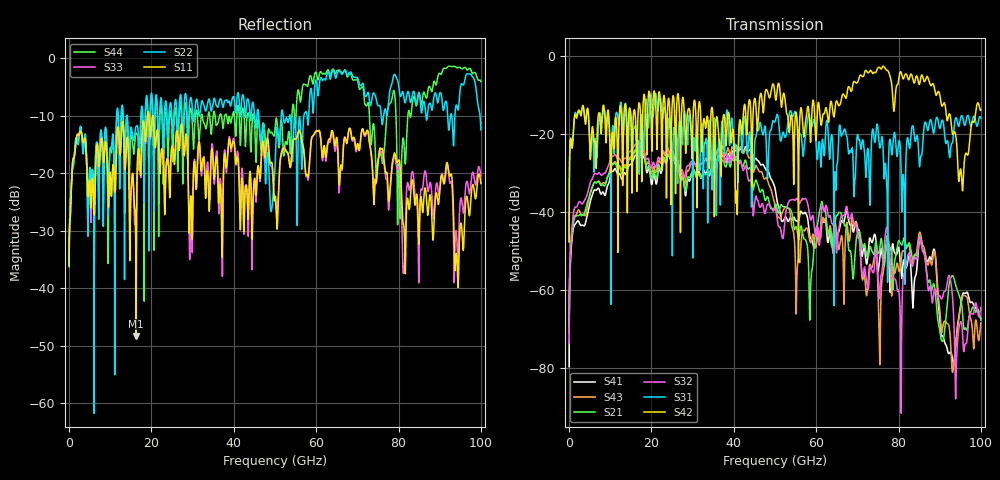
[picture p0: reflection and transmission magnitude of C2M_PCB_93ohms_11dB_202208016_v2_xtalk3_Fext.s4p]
! Info: Touchstone file created by Circ.  Input file=Intel_C2M_200G_2p0in_202208016_staggered.circ
# Hz S RI R 50
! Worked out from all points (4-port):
!   10000 points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, 10 MHz to 100 GHz, reference 50 ohm
!   strongest paths, dB at 10 MHz, 25.01 GHz, 50.01 GHz, 75.01 GHz, 100 GHz:
!     S42: -47.5, -13.1, -10.1, -3.1, -13.8
!     S31: -47.7, -30.8, -16.8, -18.7, -16.0
!     S32: -73.7, -24.3, -39.1, -56.0, -64.4
!     S21: -69.2, -26.4, -38.2, -50.4, -67.6
!     S43: -71.0, -24.3, -38.2, -59.7, -68.4
!     S41: -79.5, -26.2, -33.9, -55.3, -67.2
!   lowest |S11| = -48.3 dB at 16.27 GHz (marker M1), VSWR 1.01, Z = 50.2 + j0.35 ohm
!   |S11| at or under -10 dB: start of sweep to 19 GHz; 19.37 GHz to end of sweep
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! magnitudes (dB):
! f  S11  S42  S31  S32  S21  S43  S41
! 10 MHz  -36.1  -47.5  -47.7  -73.7  -69.2  -71.0  -79.5
! 1.4 GHz  -16.6  -15.2  -14.8  -38.8  -41.3  -40.9  -43.2
! 16.27 GHz  -48.3  -19.9  -20.0  -22.7  -24.3  -24.0  -25.5
! 71.4 GHz  -12.4  -5.3  -21.8  -56.4  -49.0  -57.1  -49.8
! 81.18 GHz  -28.9  -5.9  -30.7  -56.4  -47.0  -50.0  -52.4
! 95.17 GHz  -28.7  -29.4  -15.6  -68.0  -62.7  -63.7  -63.0
! 100 GHz  -21.8  -13.8  -16.0  -64.4  -67.6  -68.4  -67.2
